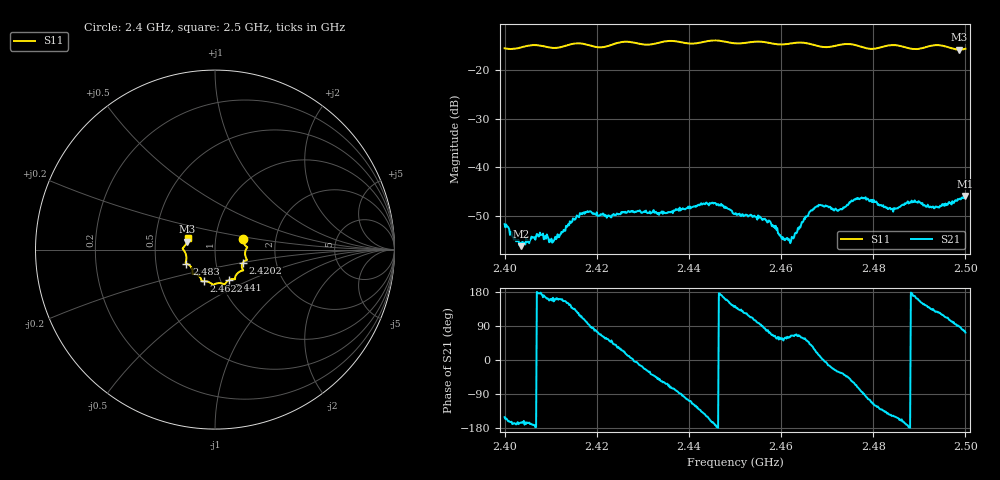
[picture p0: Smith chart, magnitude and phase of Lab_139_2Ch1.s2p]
# Hz S RI R 50
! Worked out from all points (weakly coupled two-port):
!   601 points, 2.4 GHz to 2.5 GHz, reference 50 ohm
!   highest |S21| = -45.88 dB at 2.5 GHz (marker M1); lowest = -56.2 dB at 2.4035 GHz (marker M2)
!   lowest |S11| = -15.8 dB at 2.4987 GHz (marker M3), VSWR 1.39, Z = 36.4 + j3.34 ohm
!   |S11| at or under -10 dB: start of sweep to end of sweep
!   S12 and S22 are empty: the file has one direction only
!   S11 on the Smith chart (normalised r, x): 2.4 GHz: 1.36, +0.17; 2.4202 GHz: 1.35, -0.20; 2.441 GHz: 1.09, -0.39; 2.4622 GHz: 0.83, -0.30; 2.483 GHz: 0.72, -0.12; 2.5 GHz: 0.73, +0.09
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2.4e9  0.156 0.06  -0.00228 -0.00127  0 0  0 0
2.4035e9  0.1687 0.0227  -0.0015 -0.000394  0 0  0 0
2.4075e9  0.1786 0.0105  -0.00196 0.000147  0 0  0 0
2.410833e9  0.1675 -0.0168  -0.00168 0.000702  0 0  0 0
2.416667e9  0.1778 -0.0582  -0.00146 0.00306  0 0  0 0
2.420167e9  0.1558 -0.0719  0.000879 0.00305  0 0  0 0
2.433333e9  0.1129 -0.1526  0.00228 -0.00254  0 0  0 0
2.441e9  0.0766 -0.1703  -0.00183 -0.00352  0 0  0 0
2.445333e9  0.0535 -0.1936  -0.00414 -0.000965  0 0  0 0
2.45e9  0.0264 -0.1861  -0.00267 0.00204  0 0  0 0
2.457e9  -0.0183 -0.1905  0.000528 0.00267  0 0  0 0
2.460333e9  -0.0464 -0.1772  0.0011 0.00159  0 0  0 0
2.462167e9  -0.0633 -0.1765  0.000761 0.00159  0 0  0 0
2.466667e9  -0.0765 -0.1669  0.00289 0.00219  0 0  0 0
2.472667e9  -0.1192 -0.1362  0.0031 -0.00197  0 0  0 0
2.477833e9  -0.1256 -0.115  5.3e-05 -0.00481  0 0  0 0
2.483e9  -0.1595 -0.0782  -0.00301 -0.00242  0 0  0 0
2.483333e9  -0.161 -0.0773  -0.00298 -0.00228  0 0  0 0
2.488833e9  -0.1599 -0.037  -0.00433 0.000835  0 0  0 0
2.493667e9  -0.18 0.00545  -0.00242 0.00312  0 0  0 0
2.498667e9  -0.1555 0.0447  0.000158 0.00473  0 0  0 0
2.5e9  -0.1528 0.0631  0.00154 0.00484  0 0  0 0
